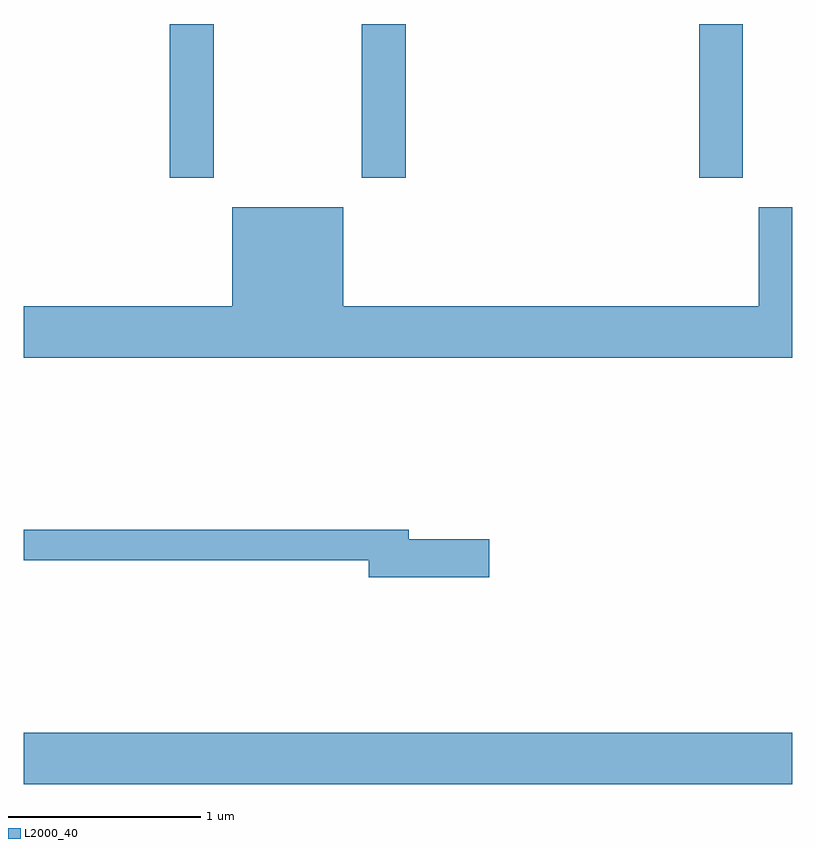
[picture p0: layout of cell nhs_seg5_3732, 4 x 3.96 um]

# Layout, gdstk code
import gdstk
lib = gdstk.Library(unit=1e-6, precision=1e-09)
def R(c, l, rs):  # rectangles x0, y0, x1, y1
    for r in rs: c.add(gdstk.rectangle(r[:2], r[2:], *l))
def P(c, l, *ps):  # polygons
    for p in ps: c.add(gdstk.Polygon(p, *l))
L2000_40 = (2000, 40)

nhs_seg5_3732 = lib.new_cell('nhs_seg5_3732')
R(nhs_seg5_3732, L2000_40, [(295.611,1470.116,299.611,1470.384), (296.371,1473.271,296.599,1474.072), (297.371,1473.271,297.599,1474.072), (299.126,1473.271,299.354,1474.072)])
P(nhs_seg5_3732, L2000_40, [(299.611,1473.119),(299.436,1473.119),(299.436,1472.604),(297.274,1472.604),(297.274,1473.119),(296.696,1473.119),(296.696,1472.604),(295.611,1472.604),(295.611,1472.336),(299.611,1472.336)],
  [(298.034,1471.389),(297.614,1471.389),(297.614,1471.439),(295.611,1471.439),(295.611,1471.281),(297.406,1471.281),(297.406,1471.191),(298.034,1471.191)])

lib.write_gds('nhs_seg5_3732.gds')
